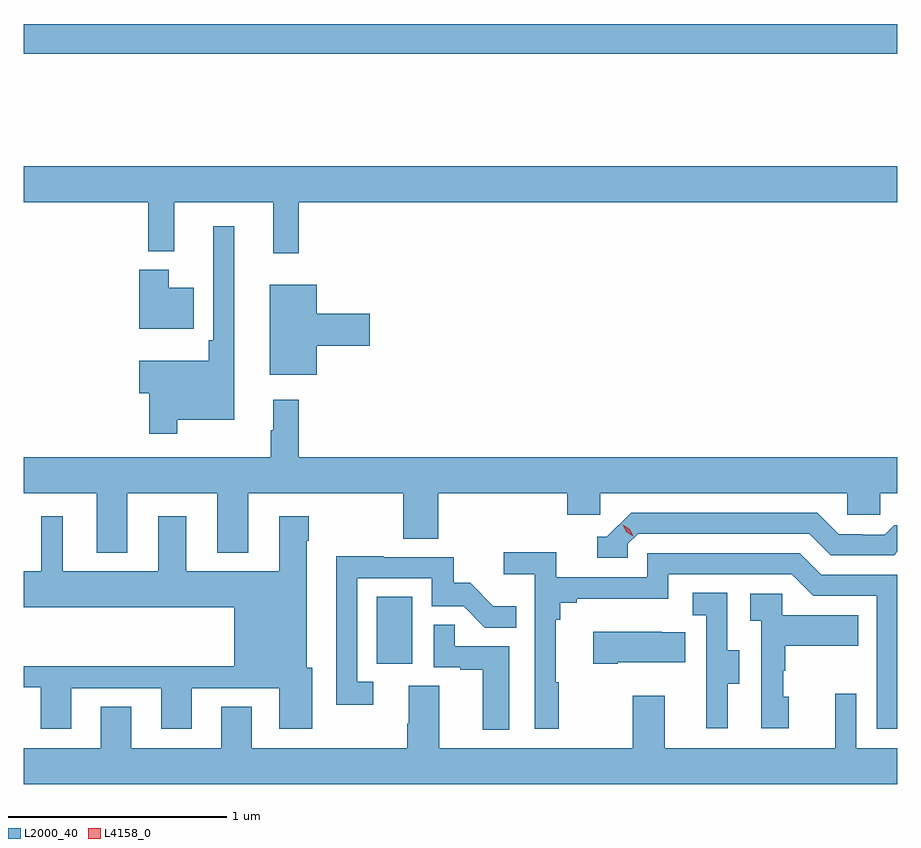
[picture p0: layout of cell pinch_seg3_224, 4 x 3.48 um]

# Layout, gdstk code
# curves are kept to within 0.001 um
import gdstk
lib = gdstk.Library(unit=1e-6, precision=1e-09)
def R(c, l, rs):  # rectangles x0, y0, x1, y1
    for r in rs: c.add(gdstk.rectangle(r[:2], r[2:], *l))
def P(c, l, *ps):  # polygons
    for p in ps: c.add(gdstk.Polygon(p, *l))
L2000_40 = (2000, 40)
L4158_0 = (4158, 0)

pinch_seg3_224 = lib.new_cell('pinch_seg3_224')
R(pinch_seg3_224, L2000_40, [(928.556,742.758,928.72,743.065), (926.94,745.552,930.94,745.688)])
P(pinch_seg3_224, L2000_40, [(928.199,744.872),(930.94,744.872),(930.94,745.036),(926.94,745.036),(926.94,744.872),(927.511,744.872),(927.511,744.647),(927.629,744.647),(927.629,744.872),(928.082,744.872),(928.082,744.639),(928.199,744.639)],
  [(927.643,743.876),(927.904,743.876),(927.904,744.763),(927.807,744.763),(927.807,744.241),(927.787,744.241),(927.787,744.145),(927.47,744.145),(927.47,743.998),(927.514,743.998),(927.514,743.811),(927.643,743.811)],
  [(927.718,744.481),(927.604,744.481),(927.604,744.562),(927.47,744.562),(927.47,744.293),(927.718,744.293)],
  [(928.282,744.215),(928.525,744.215),(928.525,744.362),(928.282,744.362),(928.282,744.493),(928.067,744.493),(928.067,744.083),(928.282,744.083)],
  [(927.415,743.54),(927.827,743.54),(927.827,743.267),(927.967,743.267),(927.967,743.54),(928.678,743.54),(928.678,743.332),(928.838,743.332),(928.838,743.54),(929.429,743.54),(929.429,743.442),(929.58,743.442),(929.58,743.54),(930.711,743.54),(930.711,743.442),(930.861,743.442),(930.861,743.54),(930.94,743.54),(930.94,743.704),(928.199,743.704),(928.199,743.968),(928.082,743.968),(928.082,743.828),(928.071,743.828),(928.071,743.704),(926.94,743.704),(926.94,743.54),(927.275,743.54),(927.275,743.267),(927.415,743.267)],
  [(929.706,743.307),(929.754,743.355),(930.537,743.355),(930.636,743.256),(930.925,743.256),(930.94,743.271),(930.94,743.392),(930.925,743.392),(930.883,743.349),(930.78,743.349),(930.78,743.352),(930.673,743.352),(930.574,743.451),(929.721,743.451),(929.61,743.34),(929.567,743.34),(929.567,743.244),(929.706,743.244)],
  [(927.157,742.647),(927.569,742.647),(927.569,742.461),(927.709,742.461),(927.709,742.647),(928.109,742.647),(928.109,742.461),(928.261,742.461),(928.261,742.74),(928.237,742.74),(928.237,743.321),(928.245,743.321),(928.245,743.434),(928.109,743.434),(928.109,743.182),(927.685,743.182),(927.685,743.434),(927.557,743.434),(927.557,743.182),(927.118,743.182),(927.118,743.434),(927.02,743.434),(927.02,743.182),(926.94,743.182),(926.94,743.018),(927.905,743.018),(927.905,742.748),(926.94,742.748),(926.94,742.65),(927.017,742.65),(927.017,742.461),(927.157,742.461)],
  [(929.389,742.673),(929.377,742.673),(929.377,742.961),(929.396,742.961),(929.396,743.038),(929.473,743.038),(929.473,743.057),(929.892,743.057),(929.892,743.169),(930.456,743.169),(930.555,743.07),(930.846,743.07),(930.846,742.461),(930.94,742.461),(930.94,743.166),(930.592,743.166),(930.493,743.265),(929.796,743.265),(929.796,743.154),(929.378,743.154),(929.378,743.27),(929.139,743.27),(929.139,743.168),(929.28,743.168),(929.28,742.461),(929.389,742.461)],
  [(928.54,742.677),(928.467,742.677),(928.467,743.151),(928.809,743.151),(928.809,743.022),(928.954,743.022),(929.052,742.924),(929.195,742.924),(929.195,743.023),(929.091,743.023),(928.984,743.13),(928.908,743.13),(928.908,743.247),(928.589,743.247),(928.589,743.252),(928.37,743.252),(928.371,742.572),(928.54,742.572)],
  [(930.163,742.666),(930.217,742.666),(930.217,742.821),(930.162,742.821),(930.162,743.084),(930.003,743.084),(930.003,742.981),(930.066,742.981),(930.066,742.677),(930.065,742.677),(930.065,742.464),(930.163,742.464)],
  [(930.442,742.608),(930.417,742.608),(930.417,742.727),(930.427,742.727),(930.427,742.841),(930.761,742.841),(930.761,742.981),(930.414,742.981),(930.414,743.079),(930.267,743.079),(930.267,742.955),(930.318,742.955),(930.318,742.464),(930.442,742.464)],
  [(929.164,742.839),(928.913,742.839),(928.913,742.937),(928.818,742.937),(928.818,742.743),(928.939,742.743),(928.939,742.731),(929.042,742.731),(929.042,742.457),(929.164,742.457)],
  [(929.659,742.766),(929.969,742.766),(929.969,742.903),(929.861,742.903),(929.861,742.906),(929.547,742.906),(929.547,742.759),(929.659,742.759)],
  [(930.94,742.372),(930.753,742.372),(930.753,742.621),(930.656,742.621),(930.656,742.372),(929.875,742.372),(929.875,742.612),(929.728,742.612),(929.728,742.372),(928.843,742.372),(928.843,742.658),(928.703,742.658),(928.703,742.484),(928.696,742.484),(928.696,742.372),(927.985,742.372),(927.985,742.562),(927.845,742.562),(927.845,742.372),(927.433,742.372),(927.433,742.562),(927.293,742.562),(927.293,742.372),(926.94,742.372),(926.94,742.208),(930.94,742.208)])
P(pinch_seg3_224, L4158_0, [(929.731,743.342),(929.7,743.362),(929.684,743.394),(929.684,743.394),(929.684,743.394),(929.715,743.375),(929.731,743.342),(929.731,743.342)])

lib.write_gds('pinch_seg3_224.gds')
